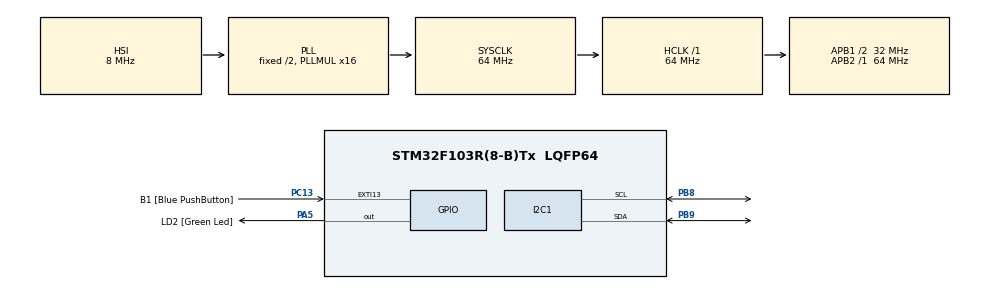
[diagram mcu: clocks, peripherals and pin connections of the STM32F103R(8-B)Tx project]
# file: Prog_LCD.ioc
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I2C1.I2C_Mode=I2C_Fast
Mcu.Family=STM32F1
Mcu.Name=STM32F103R(8-B)Tx
Mcu.Package=LQFP64
NVIC.EXTI15_10_IRQn=true\:0\:0\:false\:false\:true\:true\:true\:true
NVIC.PriorityGroup=NVIC_PRIORITYGROUP_4
PA13.GPIO_Label=TMS
PA13.Mode=Serial_Wire
PA13.Signal=SYS_JTMS-SWDIO
PA14.GPIO_Label=TCK
PA14.Mode=Serial_Wire
PA14.Signal=SYS_JTCK-SWCLK
PA2.GPIO_Label=USART_TX
PA2.GPIO_Mode=GPIO_MODE_AF_PP
PA2.GPIO_PuPd=GPIO_NOPULL
PA2.GPIO_Speed=GPIO_SPEED_FREQ_LOW
PA2.Signal=USART2_TX
PA3.GPIO_Label=USART_RX
PA3.GPIO_Mode=GPIO_MODE_AF_PP
PA3.GPIO_PuPd=GPIO_NOPULL
PA3.GPIO_Speed=GPIO_SPEED_FREQ_LOW
PA3.Signal=USART2_RX
PA5.GPIO_Label=LD2 [Green Led]
PA5.GPIO_ModeDefaultOutputPP=GPIO_MODE_OUTPUT_PP
PA5.GPIO_PuPd=GPIO_NOPULL
PA5.GPIO_Speed=GPIO_SPEED_FREQ_LOW
PA5.Signal=GPIO_Output
PB3.GPIO_Label=SWO
PB3.Signal=SYS_JTDO-TRACESWO
PB8.Mode=I2C
PB8.Signal=I2C1_SCL
PB9.Mode=I2C
PB9.Signal=I2C1_SDA
PC13-TAMPER-RTC.GPIO_Label=B1 [Blue PushButton]
PC13-TAMPER-RTC.GPIO_ModeDefaultEXTI=GPIO_MODE_IT_FALLING
PC13-TAMPER-RTC.GPIO_PuPd=GPIO_NOPULL
PC13-TAMPER-RTC.Signal=GPXTI13
PC14-OSC32_IN.Signal=RCC_OSC32_IN
PC15-OSC32_OUT.Signal=RCC_OSC32_OUT
PD0-OSC_IN.Mode=HSE-External-Clock-Source
PD0-OSC_IN.Signal=RCC_OSC_IN
PD1-OSC_OUT.Mode=HSE-External-Clock-Source
PD1-OSC_OUT.Signal=RCC_OSC_OUT
ProjectManager.HeapSize=0x200
ProjectManager.StackSize=0x400
ProjectManager.TargetToolchain=STM32CubeIDE
RCC.AHBFreq_Value=64000000
RCC.APB1CLKDivider=RCC_HCLK_DIV2
RCC.APB1Freq_Value=32000000
RCC.APB1TimFreq_Value=64000000
RCC.APB2Freq_Value=64000000
RCC.APB2TimFreq_Value=64000000
RCC.HCLKFreq_Value=64000000
RCC.PLLMUL=RCC_PLL_MUL16
RCC.SYSCLKFreq_VALUE=64000000
RCC.SYSCLKSource=RCC_SYSCLKSOURCE_PLLCLK
RCC.USBFreq_Value=64000000
board=NUCLEO-F103RB

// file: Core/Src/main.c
/* USER CODE BEGIN Header */
/**
  ******************************************************************************
  * @file           : main.c
  * @brief          : Main program body
  ******************************************************************************
  * @attention
  *
  * Copyright (c) 2026 STMicroelectronics.
  * All rights reserved.
  *
  * This software is licensed under terms that can be found in the LICENSE file
  * in the root directory of this software component.
  * If no LICENSE file comes with this software, it is provided AS-IS.
  *
  ******************************************************************************
  */
/* USER CODE END Header */
#include "main.h"

/* USER CODE BEGIN Includes */
#include <stdio.h>
#include "liquidcrystal_i2c.h"
/* USER CODE END Includes */

I2C_HandleTypeDef hi2c1;

/* USER CODE BEGIN PV */
int cont = 0;
char snum[5];
/* USER CODE END PV */

void SystemClock_Config(void);
static void MX_GPIO_Init(void);
static void MX_I2C1_Init(void);

/* USER CODE BEGIN 0 */
#define ADXL_Address 0xA6
uint8_t RxData[10];
float xg, yg, zg;

void ADXL_Write_Reg (uint8_t Reg, uint8_t Byte)
{
	HAL_I2C_Mem_Write(&hi2c1, ADXL_Address, Reg, 1, &Byte, 1, 100);
}

void ADXL_Read (uint8_t Reg, uint8_t *Buffer, size_t len)
{
	HAL_I2C_Mem_Read (&hi2c1, ADXL_Address, Reg, 1, Buffer, len, 2000);
}

void ADXL_Init (void)
{
	uint8_t chipID=0;
	ADXL_Read(0x00, &chipID, 1);
	if (chipID == 0xE5)
	{
		ADXL_Write_Reg (0x2d, 0x00);  // reset all bits; standby
		ADXL_Write_Reg (0x2d, 0x08);  // measure=1 and wake up 8hz
		ADXL_Write_Reg (0x31, 0x01);  // 10bit data, range= +- 4g
	}

	else Error_Handler();
}

void display_data(float data)
{
    char axischar[16];
    snprintf(axischar, sizeof(axischar), "%.2f", data);
    HD44780_PrintStr(axischar);
}

/**
  * @brief  Inicializa a USART2 (PA2=TX, PA3=RX) conectada ao ST-LINK Virtual COM Port
  * @param  baudrate: Taxa de transmissao em bps (padrao: 115200)
  */
void UART2_Init(uint32_t baudrate)
{
    __HAL_RCC_GPIOA_CLK_ENABLE();
    __HAL_RCC_USART2_CLK_ENABLE();

    GPIO_InitTypeDef GPIO_InitStruct = {0};

    /* PA2 -> USART2_TX (Alternate Function Push-Pull) */
    GPIO_InitStruct.Pin = USART_TX_Pin;
    GPIO_InitStruct.Mode = GPIO_MODE_AF_PP;
    GPIO_InitStruct.Speed = GPIO_SPEED_FREQ_HIGH;
    HAL_GPIO_Init(USART_TX_GPIO_Port, &GPIO_InitStruct);

    /* PA3 -> USART2_RX (Input Pull-Up) */
    GPIO_InitStruct.Pin = USART_RX_Pin;
    GPIO_InitStruct.Mode = GPIO_MODE_INPUT;
    GPIO_InitStruct.Pull = GPIO_PULLUP;
    HAL_GPIO_Init(USART_RX_GPIO_Port, &GPIO_InitStruct);

    /* Calcula BRR com base no clock do barramento APB1 (32 MHz) */
    uint32_t pclk1 = HAL_RCC_GetPCLK1Freq();
    USART2->BRR = (pclk1 + (baudrate / 2U)) / baudrate;

    /* Habilita Transmissor (TE), Receptor (RE) e Periferico USART (UE) */
    USART2->CR1 = USART_CR1_TE | USART_CR1_RE | USART_CR1_UE;
}

/**
  * @brief  Envia uma string terminada em nulo pela USART2 (bloqueante)
  */
void UART2_SendString(const char *str)
{
    while (*str)
    {
        while (!(USART2->SR & USART_SR_TXE)) {}
        USART2->DR = (uint8_t)(*str++);
    }
    while (!(USART2->SR & USART_SR_TC)) {}
}

/**
  * @brief  Redireciona printf() para a USART2 (via syscalls.c)
  */
int __io_putchar(int ch)
{
    while (!(USART2->SR & USART_SR_TXE)) {}
    USART2->DR = (uint8_t)(ch & 0xFFU);
    return ch;
}
/* USER CODE END 0 */

int main(void)
{

  /* MCU Configuration--------------------------------------------------------*/

  /* Reset of all peripherals, Initializes the Flash interface and the Systick. */
  HAL_Init();

  /* Configure the system clock */
  SystemClock_Config();

  /* Initialize all configured peripherals */
  MX_GPIO_Init();
  MX_I2C1_Init();
  /* USER CODE BEGIN 2 */
  UART2_Init(115200);
  UART2_SendString("{\"status\":\"STM32_BOOT\",\"mcu\":\"STM32F103RB\"}\r\n");

  //Nomral static Printing
  HD44780_Init(2);
  HD44780_Clear();
  HD44780_Backlight();
  HD44780_SetCursor(4,0);
  HD44780_PrintStr("");
  HD44780_SetCursor(0,1);
  HD44780_PrintStr("Comunicacao");
  HAL_Delay(2000);
  HD44780_Clear();

  //ADXL_Init();  // initialize adxl
  HD44780_Clear();
  HD44780_SetCursor(0,0);
  HD44780_PrintStr("Via Serial");

  HAL_Delay(2000);

  ADXL_Init();

  HD44780_Clear();
  HD44780_SetCursor(0,0);
  HD44780_PrintStr("ADXL OK");
  UART2_SendString("{\"status\":\"ADXL_OK\",\"range\":\"4g\"}\r\n");

  /* USER CODE END 2 */

  /* Infinite loop */
  while (1)
  {

    /* USER CODE BEGIN 3 */
	  ADXL_Read(0x32, RxData, 6);
	  int16_t RAWX = ((RxData[1]<<8)|RxData[0]);
	  int16_t RAWY = ((RxData[3]<<8)|RxData[2]);
	  int16_t RAWZ = ((RxData[5]<<8)|RxData[4]);

	 	  xg = RAWX * .0078;
	 	  yg = RAWY * .0078;
	 	  zg = RAWZ * .0078;

	  HD44780_SetCursor(0,0);
	  HD44780_PrintStr("x- ");
	  display_data (xg);
	  HD44780_SetCursor(8,0);
	  HD44780_PrintStr("y- ");
	  display_data (yg);
	  HD44780_SetCursor(5,1);
	  HD44780_PrintStr("z- ");
	  display_data (zg);

	  /* Envia leituras X, Y e Z em JSON via Monitor Serial (USART2 @ 115200 bps) */
	  char uart_buf[64];
	  snprintf(uart_buf, sizeof(uart_buf), "{\"x\":%.2f,\"y\":%.2f,\"z\":%.2f}\r\n", xg, yg, zg);
	  UART2_SendString(uart_buf);

	  HAL_Delay(100);

  }
  /* USER CODE END 3 */
}

void SystemClock_Config(void)
{
  RCC_OscInitTypeDef RCC_OscInitStruct = {0};
  RCC_ClkInitTypeDef RCC_ClkInitStruct = {0};

  /** Initializes the RCC Oscillators according to the specified parameters
  * in the RCC_OscInitTypeDef structure.
  */
  RCC_OscInitStruct.OscillatorType = RCC_OSCILLATORTYPE_HSI;
  RCC_OscInitStruct.HSIState = RCC_HSI_ON;
  RCC_OscInitStruct.HSICalibrationValue = RCC_HSICALIBRATION_DEFAULT;
  RCC_OscInitStruct.PLL.PLLState = RCC_PLL_ON;
  RCC_OscInitStruct.PLL.PLLSource = RCC_PLLSOURCE_HSI_DIV2;
  RCC_OscInitStruct.PLL.PLLMUL = RCC_PLL_MUL16;
  if (HAL_RCC_OscConfig(&RCC_OscInitStruct) != HAL_OK)
  {
    Error_Handler();
  }

  /** Initializes the CPU, AHB and APB buses clocks
  */
  RCC_ClkInitStruct.ClockType = RCC_CLOCKTYPE_HCLK|RCC_CLOCKTYPE_SYSCLK
                              |RCC_CLOCKTYPE_PCLK1|RCC_CLOCKTYPE_PCLK2;
  RCC_ClkInitStruct.SYSCLKSource = RCC_SYSCLKSOURCE_PLLCLK;
  RCC_ClkInitStruct.AHBCLKDivider = RCC_SYSCLK_DIV1;
  RCC_ClkInitStruct.APB1CLKDivider = RCC_HCLK_DIV2;
  RCC_ClkInitStruct.APB2CLKDivider = RCC_HCLK_DIV1;

  if (HAL_RCC_ClockConfig(&RCC_ClkInitStruct, FLASH_LATENCY_2) != HAL_OK)
  {
    Error_Handler();
  }
}

static void MX_I2C1_Init(void)
{

  hi2c1.Instance = I2C1;
  hi2c1.Init.ClockSpeed = 400000;
  hi2c1.Init.DutyCycle = I2C_DUTYCYCLE_2;
  hi2c1.Init.OwnAddress1 = 0;
  hi2c1.Init.AddressingMode = I2C_ADDRESSINGMODE_7BIT;
  hi2c1.Init.DualAddressMode = I2C_DUALADDRESS_DISABLE;
  hi2c1.Init.OwnAddress2 = 0;
  hi2c1.Init.GeneralCallMode = I2C_GENERALCALL_DISABLE;
  hi2c1.Init.NoStretchMode = I2C_NOSTRETCH_DISABLE;
  if (HAL_I2C_Init(&hi2c1) != HAL_OK)
  {
    Error_Handler();
  }

}

static void MX_GPIO_Init(void)
{
  GPIO_InitTypeDef GPIO_InitStruct = {0};

  /* GPIO Ports Clock Enable */
  __HAL_RCC_GPIOC_CLK_ENABLE();
  __HAL_RCC_GPIOD_CLK_ENABLE();
  __HAL_RCC_GPIOA_CLK_ENABLE();
  __HAL_RCC_GPIOB_CLK_ENABLE();

  /*Configure GPIO pin Output Level */
  HAL_GPIO_WritePin(LD2_GPIO_Port, LD2_Pin, GPIO_PIN_RESET);

  /*Configure GPIO pin : B1_Pin */
  GPIO_InitStruct.Pin = B1_Pin;
  GPIO_InitStruct.Mode = GPIO_MODE_IT_FALLING;
  GPIO_InitStruct.Pull = GPIO_NOPULL;
  HAL_GPIO_Init(B1_GPIO_Port, &GPIO_InitStruct);

  /*Configure GPIO pins : USART_TX_Pin USART_RX_Pin */
  GPIO_InitStruct.Pin = USART_TX_Pin|USART_RX_Pin;
  GPIO_InitStruct.Mode = GPIO_MODE_AF_PP;
  GPIO_InitStruct.Speed = GPIO_SPEED_FREQ_LOW;
  HAL_GPIO_Init(GPIOA, &GPIO_InitStruct);

  /*Configure GPIO pin : LD2_Pin */
  GPIO_InitStruct.Pin = LD2_Pin;
  GPIO_InitStruct.Mode = GPIO_MODE_OUTPUT_PP;
  GPIO_InitStruct.Pull = GPIO_NOPULL;
  GPIO_InitStruct.Speed = GPIO_SPEED_FREQ_LOW;
  HAL_GPIO_Init(LD2_GPIO_Port, &GPIO_InitStruct);

  /* EXTI interrupt init*/
  HAL_NVIC_SetPriority(EXTI15_10_IRQn, 0, 0);
  HAL_NVIC_EnableIRQ(EXTI15_10_IRQn);

}

void Error_Handler(void)
{
  __disable_irq();
  while (1)
  {
  }
}
